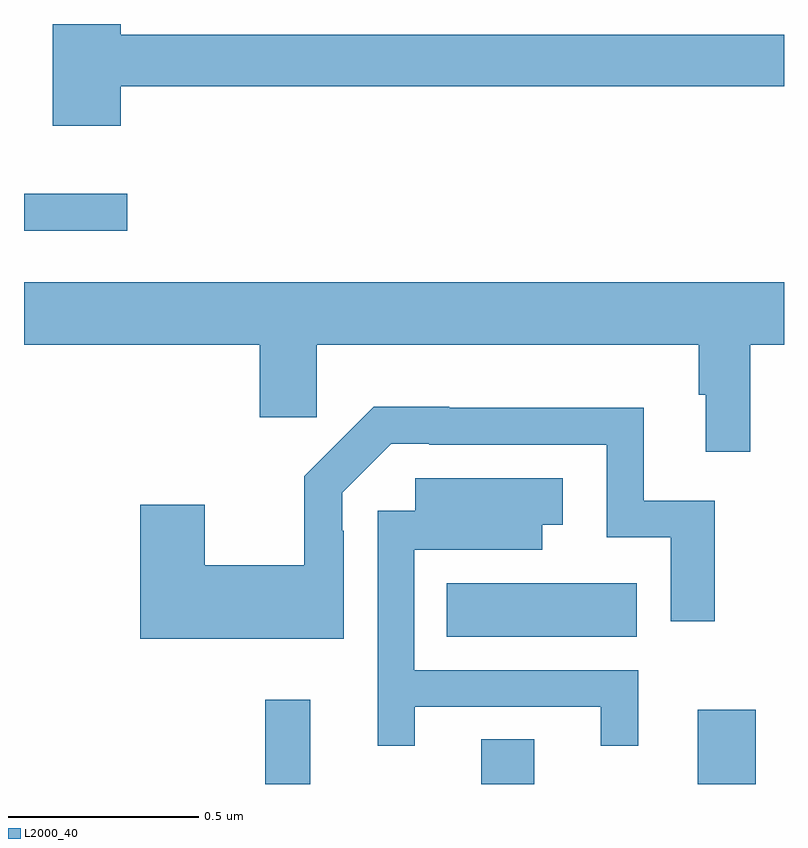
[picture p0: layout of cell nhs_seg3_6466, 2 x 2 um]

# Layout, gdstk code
import gdstk
lib = gdstk.Library(unit=1e-6, precision=1e-09)
def R(c, l, rs):  # rectangles x0, y0, x1, y1
    for r in rs: c.add(gdstk.rectangle(r[:2], r[2:], *l))
def P(c, l, *ps):  # polygons
    for p in ps: c.add(gdstk.Polygon(p, *l))
L2000_40 = (2000, 40)

nhs_seg3_6466 = lib.new_cell('nhs_seg3_6466')
R(nhs_seg3_6466, L2000_40, [(191.635,726.4,191.753,726.622), (192.203,726.4,192.343,726.518), (192.773,726.4,192.926,726.595), (192.112,726.788,192.613,726.928), (191,727.856,191.272,727.953)])
P(nhs_seg3_6466, L2000_40, [(191.254,728.236),(193,728.236),(193,728.372),(191.254,728.372),(191.254,728.4),(191.075,728.4),(191.075,728.132),(191.254,728.132)],
  [(192.911,727.556),(193,727.556),(193,727.72),(191,727.72),(191,727.556),(191.621,727.556),(191.621,727.365),(191.771,727.365),(191.771,727.556),(192.775,727.556),(192.775,727.424),(192.794,727.424),(192.794,727.275),(192.911,727.275)],
  [(191.841,727.067),(191.838,727.067),(191.838,727.167),(191.967,727.296),(192.067,727.296),(192.067,727.293),(192.534,727.293),(192.534,727.05),(192.702,727.05),(192.702,726.828),(192.818,726.828),(192.818,727.146),(192.631,727.146),(192.631,727.39),(192.119,727.39),(192.119,727.393),(191.92,727.393),(191.738,727.21),(191.738,726.976),(191.476,726.976),(191.476,727.135),(191.306,727.135),(191.306,726.782),(191.841,726.782)],
  [(192.028,726.603),(192.518,726.603),(192.518,726.501),(192.616,726.501),(192.616,726.699),(192.027,726.699),(192.027,727.016),(192.364,727.016),(192.364,727.082),(192.418,727.082),(192.418,727.204),(192.03,727.204),(192.03,727.119),(191.931,727.119),(191.931,726.501),(192.028,726.501)])

lib.write_gds('nhs_seg3_6466.gds')
